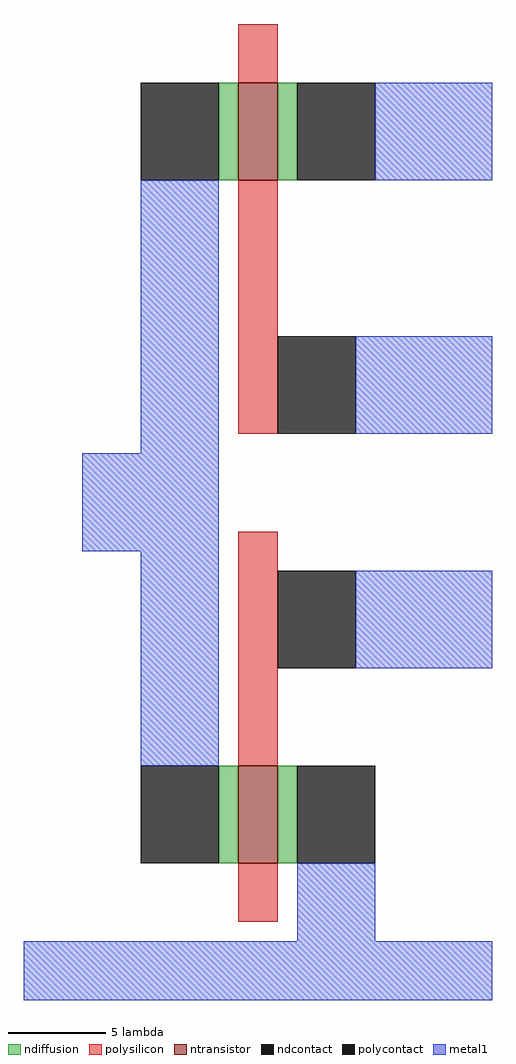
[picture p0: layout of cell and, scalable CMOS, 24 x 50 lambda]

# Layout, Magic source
magic
tech scmos
<< ntransistor >>
rect 11 12 13 17
rect 11 -23 13 -18
<< ndiffusion >>
rect 10 12 11 17
rect 13 12 14 17
rect 10 -23 11 -18
rect 13 -23 14 -18
<< ndcontact >>
rect 6 12 10 17
rect 14 12 18 17
rect 6 -23 10 -18
rect 14 -23 18 -18
<< polysilicon >>
rect 11 17 13 20
rect 11 -1 13 12
rect 11 -18 13 -6
rect 11 -26 13 -23
<< polycontact >>
rect 13 -1 17 4
rect 13 -13 17 -8
<< metal1 >>
rect 18 12 24 17
rect 6 -2 10 12
rect 17 -1 24 4
rect 3 -7 10 -2
rect 6 -18 10 -7
rect 17 -13 24 -8
rect 14 -27 18 -23
rect 0 -30 24 -27
<< end >>
